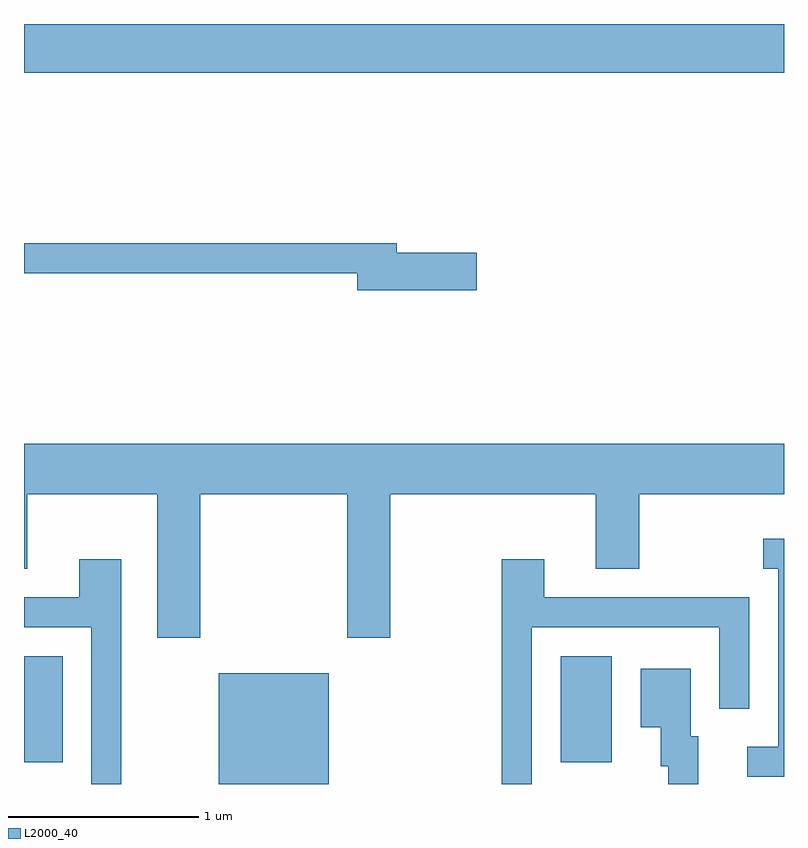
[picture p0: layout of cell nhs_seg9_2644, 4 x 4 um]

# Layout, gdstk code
import gdstk
lib = gdstk.Library(unit=1e-6, precision=1e-09)
def R(c, l, rs):  # rectangles x0, y0, x1, y1
    for r in rs: c.add(gdstk.rectangle(r[:2], r[2:], *l))
def P(c, l, *ps):  # polygons
    for p in ps: c.add(gdstk.Polygon(p, *l))
L2000_40 = (2000, 40)

nhs_seg9_2644 = lib.new_cell('nhs_seg9_2644')
R(nhs_seg9_2644, L2000_40, [(262.636,2072.432,263.214,2073.014), (261.611,2072.546,261.814,2073.104), (264.436,2072.546,264.704,2073.104), (261.611,2076.176,265.611,2076.432)])
P(nhs_seg9_2644, L2000_40, [(263.994,2075.229),(263.574,2075.229),(263.574,2075.279),(261.611,2075.279),(261.611,2075.121),(263.366,2075.121),(263.366,2075.031),(263.994,2075.031)],
  [(262.539,2073.956),(263.311,2073.956),(263.311,2073.201),(263.539,2073.201),(263.539,2073.956),(264.621,2073.956),(264.621,2073.566),(264.849,2073.566),(264.849,2073.956),(265.611,2073.956),(265.611,2074.224),(261.611,2074.224),(261.611,2073.566),(261.629,2073.566),(261.629,2073.956),(262.311,2073.956),(262.311,2073.201),(262.539,2073.201)],
  [(265.611,2073.724),(265.503,2073.724),(265.503,2073.566),(265.581,2073.566),(265.581,2072.629),(265.418,2072.629),(265.418,2072.471),(265.611,2072.471)],
  [(264.284,2073.256),(265.271,2073.256),(265.271,2072.827),(265.429,2072.827),(265.429,2073.414),(264.349,2073.414),(264.349,2073.614),(264.126,2073.614),(264.126,2072.432),(264.284,2072.432)],
  [(262.124,2073.614),(261.901,2073.614),(261.901,2073.414),(261.611,2073.414),(261.611,2073.256),(261.966,2073.256),(261.966,2072.432),(262.124,2072.432)],
  [(265.159,2072.684),(265.119,2072.684),(265.119,2073.039),(264.856,2073.039),(264.856,2072.731),(264.961,2072.731),(264.961,2072.526),(265.001,2072.526),(265.001,2072.432),(265.159,2072.432)])

lib.write_gds('nhs_seg9_2644.gds')
